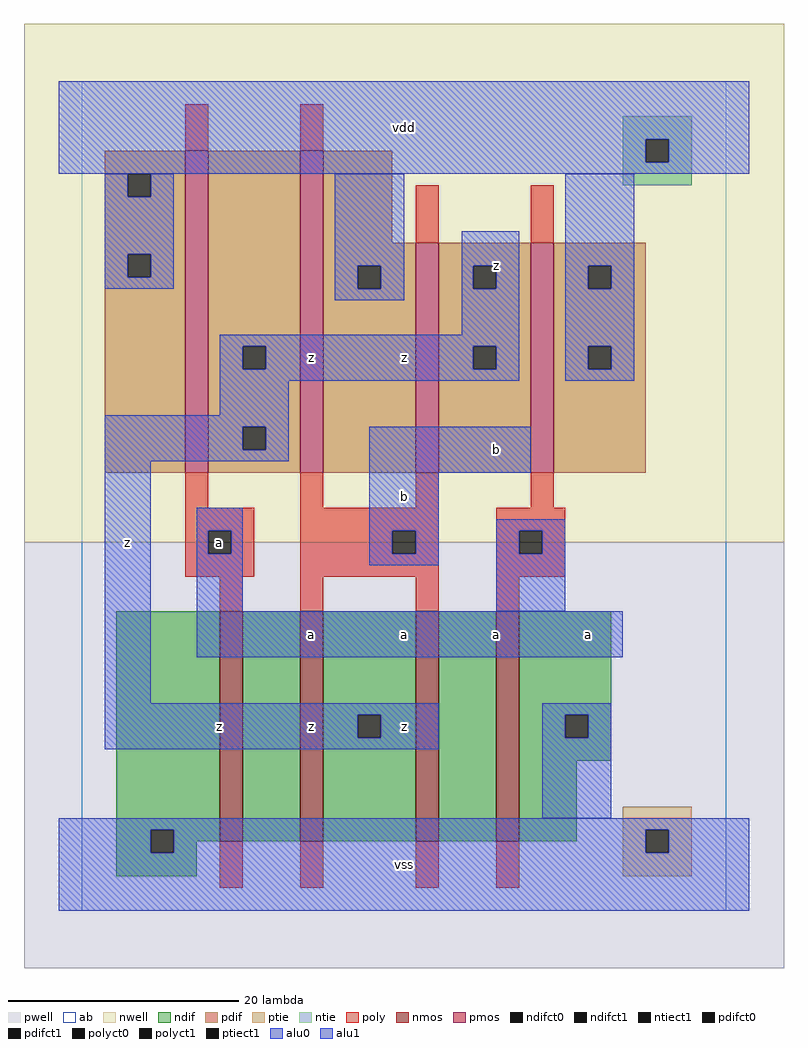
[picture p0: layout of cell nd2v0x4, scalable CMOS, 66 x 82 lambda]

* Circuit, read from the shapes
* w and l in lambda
.subckt nd2v0x4 a b vdd vss z
M1 n1 a vss vss nfet w=20 l=2
M2 z b n1 vss nfet w=20 l=2
M3 n2 b z vss nfet w=20 l=2
M4 vss a n2 vss nfet w=20 l=2
M5 z a vdd vdd pfet w=28 l=2
M6 vdd b z vdd pfet w=28 l=2
M7 z b vdd vdd pfet w=20 l=2
M8 vdd a z vdd pfet w=20 l=2
.ends

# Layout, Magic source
magic
tech scmos
<< ab >>
rect 0 0 56 72
<< nwell >>
rect -5 32 61 77
<< pwell >>
rect -5 -5 61 32
<< poly >>
rect 9 66 11 70
rect 19 66 21 70
rect 29 58 31 63
rect 39 58 41 63
rect 9 35 11 38
rect 19 35 21 38
rect 29 35 31 38
rect 39 35 41 38
rect 9 33 15 35
rect 9 31 11 33
rect 13 31 15 33
rect 9 29 15 31
rect 19 33 31 35
rect 19 31 27 33
rect 29 31 31 33
rect 19 29 31 31
rect 12 26 14 29
rect 19 26 21 29
rect 29 26 31 29
rect 36 33 42 35
rect 36 31 38 33
rect 40 31 42 33
rect 36 29 42 31
rect 36 26 38 29
rect 12 2 14 6
rect 19 2 21 6
rect 29 2 31 6
rect 36 2 38 6
<< ndif >>
rect 3 7 12 26
rect 3 5 6 7
rect 8 6 12 7
rect 14 6 19 26
rect 21 17 29 26
rect 21 15 24 17
rect 26 15 29 17
rect 21 6 29 15
rect 31 6 36 26
rect 38 17 46 26
rect 38 15 42 17
rect 44 15 46 17
rect 38 13 46 15
rect 38 6 43 13
rect 8 5 10 6
rect 3 3 10 5
<< pdif >>
rect 2 64 9 66
rect 2 62 4 64
rect 6 62 9 64
rect 2 57 9 62
rect 2 55 4 57
rect 6 55 9 57
rect 2 38 9 55
rect 11 49 19 66
rect 11 47 14 49
rect 16 47 19 49
rect 11 42 19 47
rect 11 40 14 42
rect 16 40 19 42
rect 11 38 19 40
rect 21 58 27 66
rect 21 56 29 58
rect 21 54 24 56
rect 26 54 29 56
rect 21 38 29 54
rect 31 56 39 58
rect 31 54 34 56
rect 36 54 39 56
rect 31 49 39 54
rect 31 47 34 49
rect 36 47 39 49
rect 31 38 39 47
rect 41 56 49 58
rect 41 54 44 56
rect 46 54 49 56
rect 41 49 49 54
rect 41 47 44 49
rect 46 47 49 49
rect 41 38 49 47
<< alu1 >>
rect -2 67 58 72
rect -2 65 49 67
rect 51 65 58 67
rect -2 64 58 65
rect 33 56 38 59
rect 33 54 34 56
rect 36 54 38 56
rect 33 50 38 54
rect 12 49 38 50
rect 12 47 14 49
rect 16 47 34 49
rect 36 47 38 49
rect 12 46 38 47
rect 12 43 18 46
rect 2 42 18 43
rect 2 40 14 42
rect 16 40 18 42
rect 2 39 18 40
rect 2 18 6 39
rect 25 38 39 42
rect 10 33 14 35
rect 10 31 11 33
rect 13 31 14 33
rect 10 26 14 31
rect 25 33 31 38
rect 25 31 27 33
rect 29 31 31 33
rect 25 30 31 31
rect 10 22 47 26
rect 2 17 31 18
rect 2 15 24 17
rect 26 15 31 17
rect 2 14 31 15
rect -2 7 58 8
rect -2 5 6 7
rect 8 5 49 7
rect 51 5 58 7
rect -2 0 58 5
<< ptie >>
rect 47 7 53 9
rect 47 5 49 7
rect 51 5 53 7
rect 47 3 53 5
<< ntie >>
rect 47 67 53 69
rect 47 65 49 67
rect 51 65 53 67
rect 47 63 53 65
<< nmos >>
rect 12 6 14 26
rect 19 6 21 26
rect 29 6 31 26
rect 36 6 38 26
<< pmos >>
rect 9 38 11 66
rect 19 38 21 66
rect 29 38 31 58
rect 39 38 41 58
<< polyct0 >>
rect 38 31 40 33
<< polyct1 >>
rect 11 31 13 33
rect 27 31 29 33
<< ndifct0 >>
rect 42 15 44 17
<< ndifct1 >>
rect 6 5 8 7
rect 24 15 26 17
<< ntiect1 >>
rect 49 65 51 67
<< ptiect1 >>
rect 49 5 51 7
<< pdifct0 >>
rect 4 62 6 64
rect 4 55 6 57
rect 24 54 26 56
rect 44 54 46 56
rect 44 47 46 49
<< pdifct1 >>
rect 14 47 16 49
rect 14 40 16 42
rect 34 54 36 56
rect 34 47 36 49
<< alu0 >>
rect 2 62 4 64
rect 6 62 8 64
rect 2 57 8 62
rect 2 55 4 57
rect 6 55 8 57
rect 2 54 8 55
rect 22 56 28 64
rect 22 54 24 56
rect 26 54 28 56
rect 22 53 28 54
rect 42 56 48 64
rect 42 54 44 56
rect 46 54 48 56
rect 42 49 48 54
rect 42 47 44 49
rect 46 47 48 49
rect 42 46 48 47
rect 36 33 42 34
rect 36 31 38 33
rect 40 31 42 33
rect 36 26 42 31
rect 40 17 46 18
rect 40 15 42 17
rect 44 15 46 17
rect 40 8 46 15
<< labels >>
rlabel alu1 4 32 4 32 6 z
rlabel alu1 20 16 20 16 6 z
rlabel alu1 12 16 12 16 6 z
rlabel polyct1 12 32 12 32 6 a
rlabel alu1 20 24 20 24 6 a
rlabel alu1 20 48 20 48 6 z
rlabel alu1 28 4 28 4 6 vss
rlabel alu1 28 16 28 16 6 z
rlabel alu1 28 24 28 24 6 a
rlabel alu1 36 24 36 24 6 a
rlabel alu1 36 40 36 40 6 b
rlabel alu1 28 36 28 36 6 b
rlabel alu1 28 48 28 48 6 z
rlabel alu1 36 56 36 56 6 z
rlabel alu1 28 68 28 68 6 vdd
rlabel alu1 44 24 44 24 6 a
<< end >>
